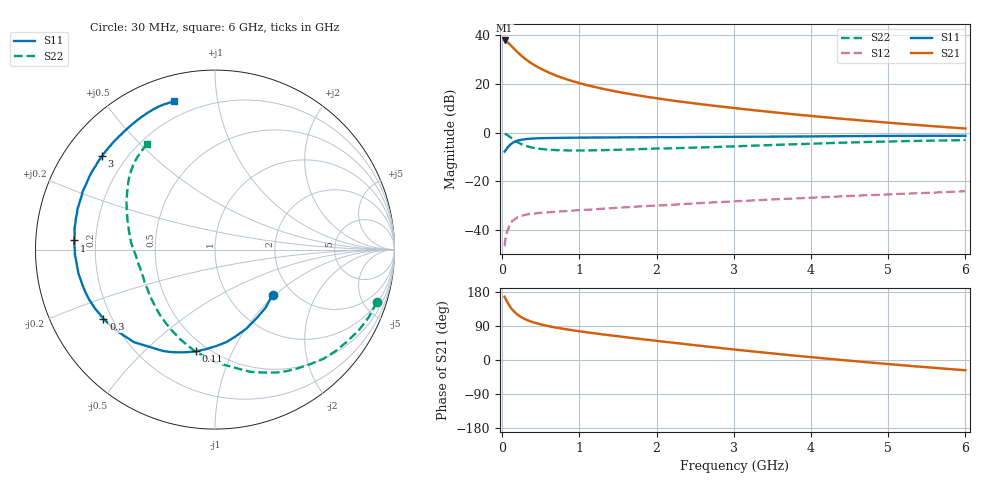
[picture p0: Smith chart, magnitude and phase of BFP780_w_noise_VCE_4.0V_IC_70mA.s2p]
! Infineon Technologies  Discrete & RF Semiconductors
! BFP780
! VCE =  4.0 V,  IC =  70 mA
! Common Emitter S-Parameters:  Jul 2015
# GHz  S  MA  R  50
!  f  S11  S21  S12  S22
! GHz  MAG  ANG  MAG  ANG  MAG  ANG  MAG  ANG
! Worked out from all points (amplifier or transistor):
!   75 points, 30 MHz to 6 GHz, reference 50 ohm
!   highest |S21| = 37.7 dB at 30 MHz (marker M1)
!   |S21| within 3 dB of that: start of sweep to 139.4 MHz
!   unconditionally stable (mu >= 1): 1.816 GHz to end of sweep
!   at 150 MHz: K = 0.15, MSG = 35.1 dB, |S12| = -35.9 dB
!   at 2.3 GHz: K = 1.11, MAG = 19.0 dB, |S12| = -29.4 dB
!   at 6 GHz: K = 1.22, MAG = 10.0 dB, |S12| = -24.1 dB
!   lowest NFmin = 1.66 dB at 450 MHz
!   S11 on the Smith chart (normalised r, x): 30 MHz: 1.59, -0.96; 110 MHz: 0.43, -0.73; 300 MHz: 0.17, -0.28; 1 GHz: 0.12, +0.03; 3 GHz: 0.11, +0.36; 6 GHz: 0.12, +0.75
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0.03  0.4073 -38.0  76.9 167.0  0.0047 74.6  0.9483 -18.0
0.05  0.4466 -58.5  73.79 158.3  0.0077 74.4  0.9185 -29.4
0.07  0.4938 -75.6  69.85 150.8  0.0102 64.1  0.8777 -40.2
0.09  0.5373 -89.3  65.36 144.0  0.012 54.9  0.8305 -50.2
0.11  0.5765 -100.5  60.77 138.0  0.014 51.5  0.7869 -59.3
0.15  0.6347 -117.1  52.38 128.4  0.0161 43.8  0.7069 -74.2
0.2  0.6849 -131.1  43.7 119.3  0.0185 40.0  0.6301 -89.3
0.25  0.7128 -140.9  37.14 112.5  0.0197 33.1  0.5773 -101.2
0.3  0.731 -148.2  31.98 107.3  0.0207 31.0  0.5366 -111.0
0.4  0.7544 -158.3  24.85 99.6  0.0217 26.8  0.4879 -125.5
0.5  0.7642 -165.1  20.22 93.9  0.0227 25.0  0.4606 -135.9
0.6  0.7726 -170.2  16.99 89.3  0.0232 23.9  0.4462 -143.9
0.8  0.7808 -177.9  12.82 82.0  0.0244 23.9  0.4321 -155.2
1  0.7867 176.3  10.27 75.8  0.0258 24.4  0.4297 -163.0
1.1  0.7865 173.8  9.318 73.0  0.0262 24.6  0.4296 -166.4
1.5  0.7948 165.5  6.803 62.7  0.0288 26.2  0.4425 -175.9
2.1  0.8053 154.8  4.769 48.2  0.0322 27.1  0.4712 174.0
3  0.8176 140.4  3.179 27.8  0.0389 26.8  0.5209 159.7
3.1  0.8185 139.0  3.051 25.7  0.0397 26.9  0.5276 158.3
4.1  0.8342 125.0  2.113 5.6  0.047 23.9  0.5969 144.7
5.1  0.8538 113.8  1.546 -12.4  0.0549 19.7  0.6596 133.0
6  0.8575 105.6  1.209 -27.1  0.0625 14.4  0.7005 122.5
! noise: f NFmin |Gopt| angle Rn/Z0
0.45  1.66  0.46  179  0.07
0.9  1.71  0.49  -169  0.08
1.5  1.77  0.51  -160  0.09
1.8  1.94  0.52  -154  0.1
2.4  2.06  0.53  -146  0.15
3  2.34  0.54  -137  0.21
3.5  2.82  0.58  -123  0.32
